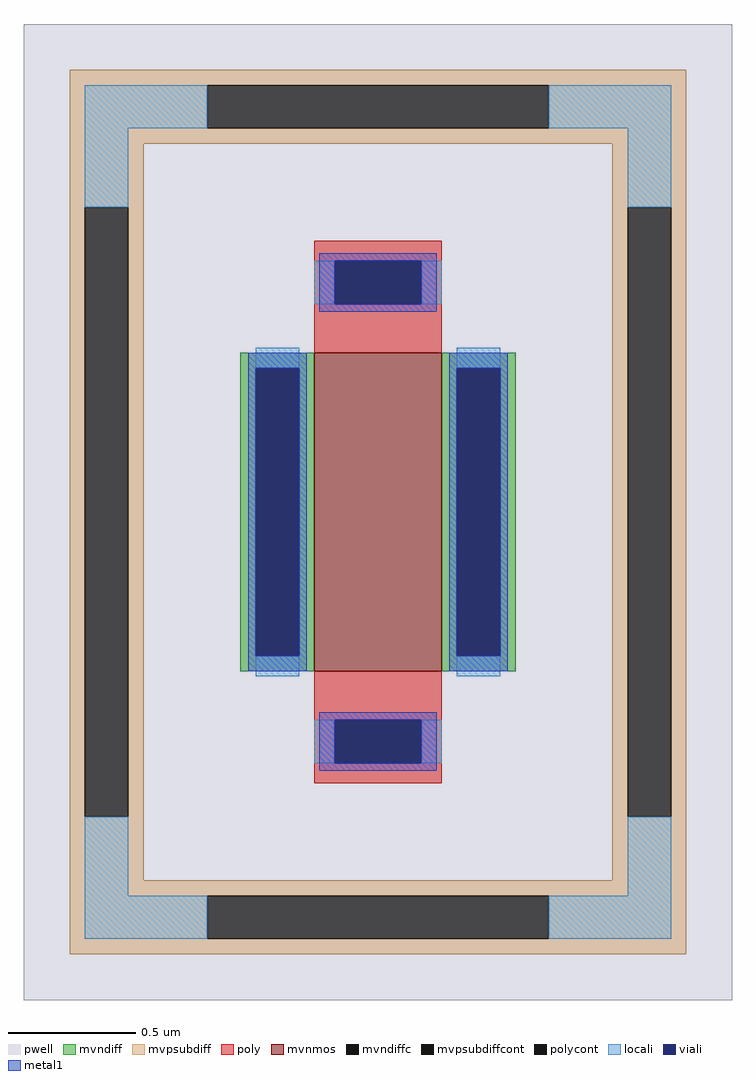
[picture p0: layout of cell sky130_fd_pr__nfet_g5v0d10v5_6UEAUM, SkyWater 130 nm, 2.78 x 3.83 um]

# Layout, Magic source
magic
tech sky130A
magscale 1 2
<< pwell >>
rect -278 -383 278 383
<< mvnmos >>
rect -50 -125 50 125
<< mvndiff >>
rect -108 113 -50 125
rect -108 -113 -96 113
rect -62 -113 -50 113
rect -108 -125 -50 -113
rect 50 113 108 125
rect 50 -113 62 113
rect 96 -113 108 113
rect 50 -125 108 -113
<< mvndiffc >>
rect -96 -113 -62 113
rect 62 -113 96 113
<< mvpsubdiff >>
rect -242 335 242 347
rect -242 301 -134 335
rect 134 301 242 335
rect -242 289 242 301
rect -242 239 -184 289
rect -242 -239 -230 239
rect -196 -239 -184 239
rect 184 239 242 289
rect -242 -289 -184 -239
rect 184 -239 196 239
rect 230 -239 242 239
rect 184 -289 242 -239
rect -242 -301 242 -289
rect -242 -335 -134 -301
rect 134 -335 242 -301
rect -242 -347 242 -335
<< mvpsubdiffcont >>
rect -134 301 134 335
rect -230 -239 -196 239
rect 196 -239 230 239
rect -134 -335 134 -301
<< poly >>
rect -50 197 50 213
rect -50 163 -34 197
rect 34 163 50 197
rect -50 125 50 163
rect -50 -163 50 -125
rect -50 -197 -34 -163
rect 34 -197 50 -163
rect -50 -213 50 -197
<< polycont >>
rect -34 163 34 197
rect -34 -197 34 -163
<< locali >>
rect -230 301 -134 335
rect 134 301 230 335
rect -230 239 -196 301
rect 196 239 230 301
rect -50 163 -34 197
rect 34 163 50 197
rect -96 113 -62 129
rect -96 -129 -62 -113
rect 62 113 96 129
rect 62 -129 96 -113
rect -50 -197 -34 -163
rect 34 -197 50 -163
rect -230 -301 -196 -239
rect 196 -301 230 -239
rect -230 -335 -134 -301
rect 134 -335 230 -301
<< viali >>
rect -34 163 34 197
rect -96 -113 -62 113
rect 62 -113 96 113
rect -34 -197 34 -163
<< metal1 >>
rect -46 197 46 203
rect -46 163 -34 197
rect 34 163 46 197
rect -46 157 46 163
rect -102 113 -56 125
rect -102 -113 -96 113
rect -62 -113 -56 113
rect -102 -125 -56 -113
rect 56 113 102 125
rect 56 -113 62 113
rect 96 -113 102 113
rect 56 -125 102 -113
rect -46 -163 46 -157
rect -46 -197 -34 -163
rect 34 -197 46 -163
rect -46 -203 46 -197
<< properties >>
string FIXED_BBOX -213 -318 213 318
string gencell sky130_fd_pr__nfet_g5v0d10v5
string library sky130
string parameters w 1.25 l 0.5 m 1 nf 1 diffcov 100 polycov 100 guard 1 glc 1 grc 1 gtc 1 gbc 1 tbcov 100 rlcov 100 topc 1 botc 1 poverlap 0 doverlap 1 lmin 0.50 wmin 0.42 compatible {sky130_fd_pr__nfet_01v8 sky130_fd_pr__nfet_01v8_lvt  sky130_fd_bs_flash__special_sonosfet_star  sky130_fd_pr__nfet_g5v0d10v5 sky130_fd_pr__nfet_05v0_nvt  sky130_fd_pr__nfet_03v3_nvt} full_metal 1 viasrc 100 viadrn 100 viagate 100 viagb 0 viagr 0 viagl 0 viagt 0
<< end >>
